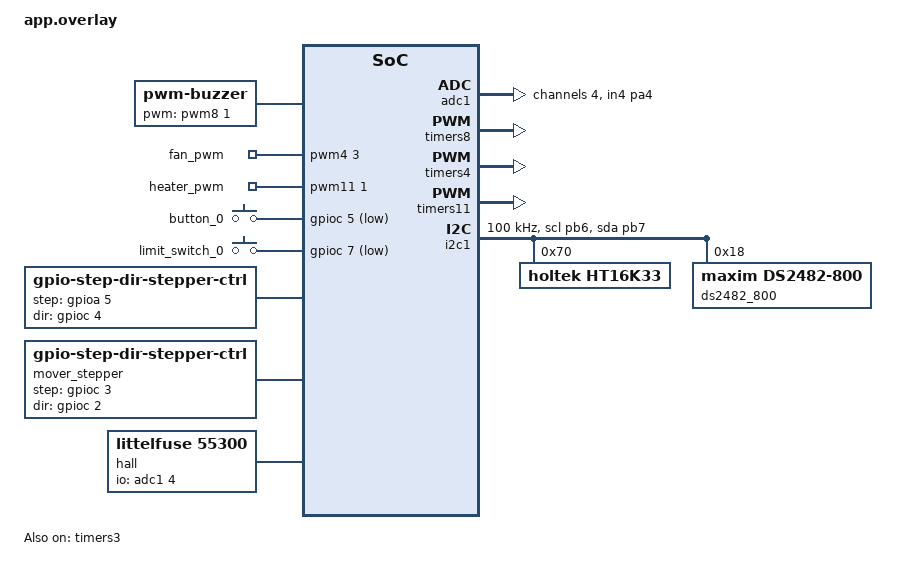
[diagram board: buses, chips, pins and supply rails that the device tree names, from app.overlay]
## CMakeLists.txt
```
cmake_minimum_required(VERSION 3.20)

set(SNIPPET cdc-acm-console)

# for global installs
find_package(Zephyr REQUIRED HINTS $ENV{ZEPHYR_BASE})

# populated the $PROJECT_NAME var and this is what the output files are named 
project(mycology_foods)

# app is a predesignated target that zephyr uses
target_sources(app PRIVATE 
    src/main.c
    src/UI/seven_seg.c
    src/UI/buzzer.c
    src/UI/buttons.c
    src/UI/dial.c
    src/sensors/sht30.c
    src/sensors/sht30_history.c
    src/sensors/ds18b20.c
    src/control/fan.c
    src/control/heater.c
    src/control/motor.c
    src/UI/ui.c
    src/sensors/hall_effect.c
    )

target_include_directories(app PRIVATE 
    inc
    inc/UI
    inc/control
    inc/sensors
    )
```

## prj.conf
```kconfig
# add desired CONFIGs here
CONFIG_GPIO=y
CONFIG_I2C=y
CONFIG_LED=y
CONFIG_PWM=y
CONFIG_W1=y
# DS2482-800 enables via DT (maxim,ds2482-800 @ 0x18); keep W1 on.
CONFIG_BUZZER=y
CONFIG_BUZZER_PWM=y
CONFIG_LOG=y
CONFIG_SENSOR=y
CONFIG_USBD_CDC_ACM_LOG_LEVEL_OFF=y
CONFIG_STEPPER=y
CONFIG_PICOLIBC_IO_FLOAT=y
CONFIG_ADC=y
```

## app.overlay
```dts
/ {
    buzzer: buzzer {
        compatible = "pwm-buzzer";
        /* TIM8 CH1 on PC6 (Feather D6). Period is only a default; the driver changes it per tone. */
        pwms = <&pwm8 1 PWM_HZ(2700) PWM_POLARITY_NORMAL>;
    };

    pwmleds {
        compatible = "pwm-leds";
        fan_pwm: fan_pwm {
            pwms = <&pwm4 3 PWM_USEC(40) PWM_POLARITY_NORMAL>;
        };
        heater_pwm: heater_pwm {
            pwms = <&pwm11 1 PWM_MSEC(2000) PWM_POLARITY_NORMAL>;
        };
    };

    buttons {
        compatible = "gpio-keys";
        button_0: button_0 {
            gpios = <&gpioc 5 (GPIO_PULL_UP | GPIO_ACTIVE_LOW)>; // ui button, PC5 (Feather A5)
        };
    };

    /* start/mix buttons: pins conflict with mover_stepper (PC3/PC2), need new pins
    buttons {
        compatible = "gpio-keys";
        button_1: button_1 {
            gpios = <&gpioc 3 (GPIO_PULL_UP | GPIO_ACTIVE_LOW)>; // start button, PC3 (Feather D11)
        };
        button_2: button_2 {
            gpios = <&gpioc 2 (GPIO_PULL_UP | GPIO_ACTIVE_LOW)>; // mix button, PC2 (Feather D12)
        };
    };
    */

    limit_switches {
        compatible = "gpio-keys";
        limit_switch_0: limit_switch_0 {
            gpios = <&gpioc 7 (GPIO_PULL_UP | GPIO_ACTIVE_LOW)>; // limit switch, PC7 (Feather D5)
        };
    };

    stepper: stepper {
        compatible = "zephyr,gpio-step-dir-stepper-ctrl";
        step-gpios = <&gpioa 5 GPIO_ACTIVE_HIGH>;   // STEP pin A1
        dir-gpios  = <&gpioc 4 GPIO_ACTIVE_HIGH>;   // DIR pin A4
        status = "okay";
    };

    mover_stepper: mover_stepper {
        compatible = "zephyr,gpio-step-dir-stepper-ctrl";
        step-gpios = <&gpioc 3 GPIO_ACTIVE_HIGH>;   // STEP pin D11 (PC3)
        dir-gpios  = <&gpioc 2 GPIO_ACTIVE_HIGH>;   // DIR pin D12 (PC2)
        status = "okay";
    };

    aliases {
        b0 = &button_0;
        // b1 = &button_1;
        // b2 = &button_2;
        // led2 = &ext_led;
        fan-pwm = &fan_pwm;
        heater-pwm = &heater_pwm;
        stepper = &stepper;
        mover-stepper = &mover_stepper;
        limit-sw = &limit_switch_0;
    };
};

&adc1 {
	pinctrl-0 = <&adc1_in4_pa4>;        /* CHANGE: your pin (PA4 = ADC1_IN4) */
	pinctrl-names = "default";
	st,adc-clock-source = "SYNC";
	st,adc-prescaler = <4>;
	vref-mv = <3300>;                   /* CHANGE: your real VDDA voltage */
	status = "okay";

	#address-cells = <1>;
	#size-cells = <0>;

	channel@4 {                         /* CHANGE: channel number for your pin */
		reg = <4>;
		zephyr,gain = "ADC_GAIN_1";
		zephyr,reference = "ADC_REF_INTERNAL";
		zephyr,acquisition-time = <ADC_ACQ_TIME(ADC_ACQ_TIME_TICKS, 480)>;
		zephyr,resolution = <12>;
	};
};

/* 2. The sensor itself */
/ {
	hall: rotary_sensor {
		compatible = "littelfuse,55300";
		io-channels = <&adc1 4>;          /* CHANGE: must match channel@N above */

		/* Sensor's own output range (NOT the divided voltage) */
		output-min-mv = <500>;            /* output at 0 deg   */
		output-max-mv = <4500>;           /* output at 360 deg */

		/* Your voltage divider */
		full-ohms = <30000>;              /* CHANGE: top + bottom resistor */
		output-ohms = <20000>;            /* CHANGE: bottom resistor (pin to GND) */

		/* Magnet detection */
		band-margin-mv = <250>;
		jitter-threshold-mdeg = <20000>;
		debounce = <3>;

		/* Smoothing */
		samples = <8>;
		filter-shift = <2>;

		status = "okay";
	};
};

/*
&{/leds} {
    ext_led: led_2 {
        gpios = <&gpioa 4 GPIO_ACTIVE_HIGH>; // PA4 (Feather A0)
    };
};
*/

&timers8 {
    /* TIM8 runs from the 168 MHz APB2 timer clock: 168 MHz / (99+1) = 1.68 MHz tick.
     * Good pitch resolution, and tones down to ~26 Hz still fit in the 16-bit counter. */
    st,prescaler = <99>;
    status = "okay";

    pwm8: pwm {
        pinctrl-0 = <&tim8_ch1_pc6>;   /* D6 */
        pinctrl-names = "default";
        status = "okay";
    };
};

&timers3 {
    status = "okay";

    qdec: qdec {
        status = "okay";
        pinctrl-0 = <&tim3_ch1_pa6 &tim3_ch2_pa7>;   /* A2, A3 */
        pinctrl-names = "default";
        st,input-filter-level = <FDIV32_N8>;
        st,counts-per-revolution = <48>;
    };
};

&timers4 {
    status = "okay";
    st,prescaler = <83>;   /* 84 MHz / (83+1) = 1 MHz tick */

    pwm4: pwm {
        status = "okay";
        pinctrl-0 = <&tim4_ch3_pb8>;   /* D9 */
        pinctrl-names = "default";
    };
};

&timers11 {
    status = "okay";
    st,prescaler = <83>;   /* 84 MHz / (83+1) = 1 MHz tick */

    pwm11: pwm {
        status = "okay";
        pinctrl-0 = <&tim11_ch1_pb9>;   /* D10 */
        pinctrl-names = "default";
    };
};

&i2c1 {
    status = "okay";
    /* Feather's labeled SCL/SDA pins (also the STEMMA QT port). PB8/PB9 are used by the fan PWM. */
    pinctrl-0 = <&i2c1_scl_pb6 &i2c1_sda_pb7>;
    pinctrl-names = "default";
    clock-frequency = <I2C_BITRATE_STANDARD>;   /* 100 kHz */

    ht16k33: ht16k33@70 {
        compatible = "holtek,ht16k33";
        reg = <0x70>;
    };

    /*
     * DS2482-800 1-Wire bridge. AD straps low → I2C 0x18.
     * Channel 0 (IO0) is the W1 master for the app DS18B20 driver.
     */
    ds2482_800: ds2482-800@18 {
        compatible = "maxim,ds2482-800";
        reg = <0x18>;
        status = "okay";

        #address-cells = <1>;
        #size-cells = <0>;

        w1: ch@0 {
            compatible = "maxim,ds2482-800-channel";
            reg = <0>;
            status = "okay";
            /* Needed for reliable rising edges / reads on real cabling. */
            active-pullup;
        };
    };
};

&tim3_ch1_pa6 { bias-pull-up; };   /* A2: encoder A */
&tim3_ch2_pa7 { bias-pull-up; };   /* A3: encoder B */
```

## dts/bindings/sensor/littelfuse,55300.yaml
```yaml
description: |
  Littelfuse 55300 flat pack rotary Hall sensor, analog output, read through
  an ADC channel behind a resistor divider. Driver: app/src/sensors/hall_effect.c

  Example:
    knob: rotary_sensor {
      compatible = "littelfuse,55300";
      io-channels = <&adc1 4>;
      output-min-mv = <500>;
      output-max-mv = <4500>;
      full-ohms = <30000>;
      output-ohms = <20000>;
    };

compatible: "littelfuse,55300"

include: sensor-device.yaml

properties:
  io-channels:
    type: phandle-array
    required: true
    description: ADC channel the sensor output (after the divider) is wired to.

  output-min-mv:
    type: int
    required: true
    description: Sensor output voltage at 0 degrees, before the divider (mV).

  output-max-mv:
    type: int
    required: true
    description: Sensor output voltage at 360 degrees, before the divider (mV).

  full-ohms:
    type: int
    required: true
    description: Total divider resistance, top + bottom (ohms).

  output-ohms:
    type: int
    required: true
    description: Bottom divider resistor, ADC pin to GND (ohms).

  band-margin-mv:
    type: int
    default: 250
    description: |
      Allowed margin outside output-min/max before the reading is treated as
      a diagnostic level (no magnet).

  jitter-threshold-mdeg:
    type: int
    default: 20000
    description: |
      Average step between fetches (milli-degrees) above which the magnet is
      considered lost. 0 disables the jitter check.

  debounce:
    type: int
    default: 3
    description: Consecutive fetches needed to change the magnet-present state.

  samples:
    type: int
    default: 8
    description: ADC samples averaged per fetch.

  filter-shift:
    type: int
    default: 2
    description: Angle low-pass strength; new = old + diff / 2^shift. 0 = off.
```

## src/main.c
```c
#include <zephyr/kernel.h>
#include <zephyr/device.h>
#include <zephyr/drivers/gpio.h>
#include <zephyr/drivers/pwm.h>

#include "types.h"
#include "seven_seg.h"
#include "buzzer.h"
#include "buttons.h"
#include "dial.h"
#include "fan.h"
#include "heater.h"
#include "motor.h"
#include "ui.h"

LOG_MODULE_REGISTER(main_thread);

float default_set_points[7] = {1, 2, 3, 4, 5, 6, 7};
float default_current_values[7] = {-1, -1, -1, -1, -1, -1, -1};

mcu_t mcu = { 
    .limit_switch_state = 0, 
    .button_events = ATOMIC_INIT(0), 
    .set_points = default_set_points, 
    .current_values = default_current_values, 
    .bake_start = false 
};

const struct device *setpoint = DEVICE_DT_GET(DT_NODELABEL(ht16k33));
static const struct device *buzzer_dev = DEVICE_DT_GET(DT_NODELABEL(buzzer));
static const struct pwm_dt_spec fan = PWM_DT_SPEC_GET(DT_ALIAS(fan_pwm));
static const struct pwm_dt_spec heater = PWM_DT_SPEC_GET(DT_ALIAS(heater_pwm));

int main(void) {
    k_sleep(K_MSEC(3000));

    clear_seven_seg(setpoint);
    display_seven_seg(setpoint, "belo.");
    // Should display: belo.

    buzzer_play_tune(buzzer_dev, done_tune, 4);
    // Should play done tune.

    init_all_buttons();
    init_limit_switch();

    if (init_dial() != 0) {
        return -1;
    }

    init_fan(&fan);

    int32_t last_pos = dial_get_position();

    init_heater(&heater);

    init_motors();
    mover_stepper_move_mm(10);
    //rake_motion();

    go_home_rake();

    ui_sequence();

    while (1) {
        //rake_stepper_move_deg(-360);
        /*
        int32_t pos = dial_get_position();
        int32_t delta = pos - last_pos;
        delta = delta / 2;
        last_pos = pos;
        LOG_INF("delta = %d", delta);

        fan_speed = CLAMP(fan_speed + delta, 0, 100);
        LOG_INF("fan speed = %d", fan_speed);
        set_fan_percent(&fan, fan_speed);
        */
        k_sleep(K_MSEC(500));
    }
    
    return 0;
}

#if 0
/*
 * Reference only — SHT30 history smoke test (not built).
 * Swap this in locally when flashing sensor-only; do not enable on main.
 */
#include <zephyr/kernel.h>
#include <zephyr/drivers/i2c.h>
#include <zephyr/logging/log.h>

#include "sensors/sht30.h"
#include "sensors/sht30_history.h"

LOG_MODULE_REGISTER(main);

static const struct i2c_dt_spec sht30_i2c = I2C_DT_SPEC_GET(DT_NODELABEL(sht30));

int main(void)
{
	struct sht30_sample sample;

	LOG_INF("SHT30 smoke test starting");
	if (sht30_init(&sht30_i2c) != 0) {
		LOG_ERR("sht30_init failed");
		return -1;
	}

	sht30_history_reset();

	while (1) {
		int err = sht30_read(&sht30_i2c, SHT30_REPEAT_HIGH, &sample);

		if (err == 0) {
			sht30_history_push(&sample);
			int16_t avgt = sht30_history_avg_temp();
			uint16_t avgh = sht30_history_avg_hum();

			int t = sample.temp_c_x100;
			unsigned t_frac = (unsigned)((t < 0) ? -t : t) % 100;
			unsigned avgt_frac = (unsigned)((avgt < 0) ? -avgt : avgt) % 100;

			LOG_INF("T=%d.%02u C  RH=%u.%02u %%  (history=%u)",
				t / 100, t_frac,
				sample.rh_x100 / 100,
				sample.rh_x100 % 100,
				(unsigned)sht30_history_count());

			LOG_INF("AVG T=%d.%02u C  AVG RH=%u.%02u %%",
				avgt / 100, avgt_frac,
				avgh / 100, avgh % 100);
		} else {
			LOG_ERR("sht30_read failed: %d", err);
		}

		k_msleep(1000);
	}

	return 0;
}
#endif

#if 0
/*
 * Reference only — DS18B20 smoke test via DS2482-800 @ I2C 0x18, ch0.
 * Swap this in locally when flashing sensor-only; do not enable on main.
 */
#include <zephyr/kernel.h>
#include <zephyr/logging/log.h>

#include "sensors/ds18b20.h"

LOG_MODULE_REGISTER(main);

static const struct device *w1 = DEVICE_DT_GET(DT_NODELABEL(w1));

int main(void)
{
	struct ds18b20_sample sample;

	LOG_INF("DS18B20 smoke test starting (DS2482-800 @ 0x18 ch0)");

	if (!device_is_ready(w1)) {
		LOG_ERR("W1 bus not ready (DS2482 init failed?)");
		return -1;
	}

	while (1) {
		int err = ds18b20_read(w1, DS18B20_RES_12BIT, &sample);

		if (err == 0) {
			int t = sample.temp_c_x100;
			unsigned t_frac = (unsigned)((t < 0) ? -t : t) % 100;

			LOG_INF("T=%d.%02u C", t / 100, t_frac);
		} else {
			LOG_ERR("ds18b20_read failed: %d", err);
		}

		k_msleep(2000);
	}

	return 0;
}
#endif
```

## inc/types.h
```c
#ifndef TYPES_H
#define TYPES_H

#include <zephyr/device.h>
#include <stdint.h>
#include <stdbool.h>
#include <zephyr/sys/atomic.h>

enum button_event {
    BTN_START,
    BTN_MIX,
    BTN_UI,
};

typedef struct {
    volatile bool limit_switch_state;
    atomic_t button_events;
    volatile bool bake_start;

    volatile float *set_points;
    volatile float *current_values;
} mcu_t;

extern mcu_t mcu;

#endif
```
